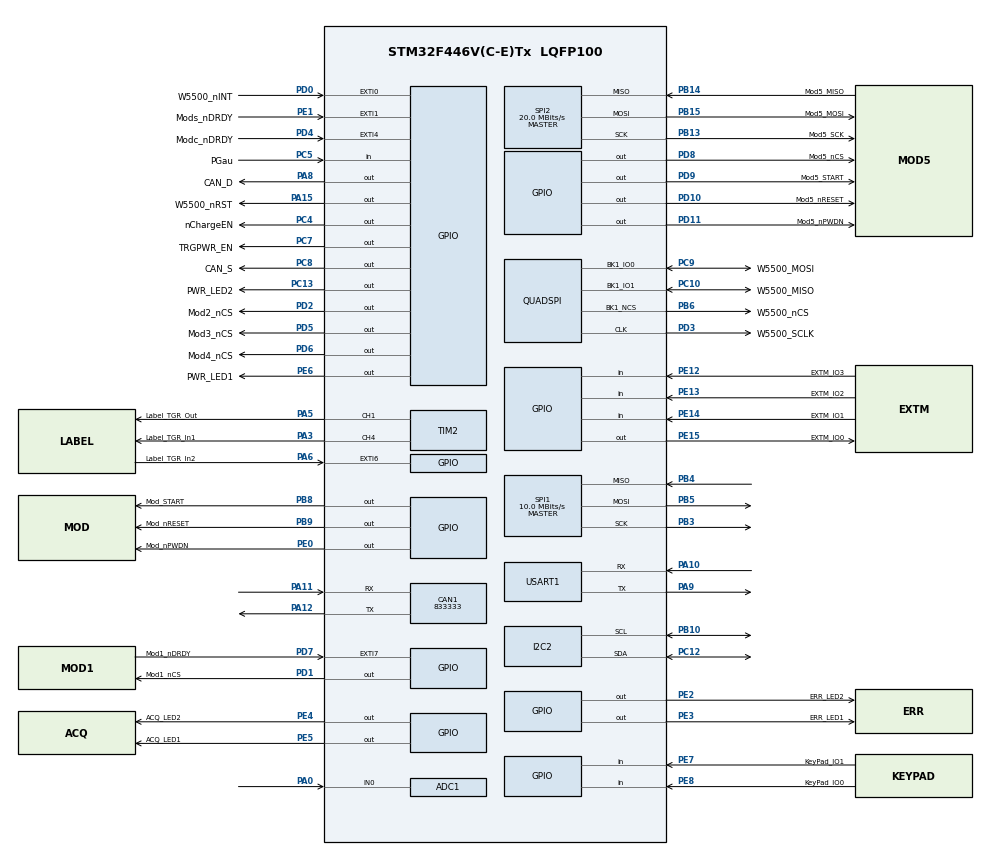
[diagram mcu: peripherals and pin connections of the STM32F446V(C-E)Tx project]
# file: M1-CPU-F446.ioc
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ADC1.Channel-0\#ChannelRegularConversion=ADC_CHANNEL_0
ADC1.NbrOfConversionFlag=1
ADC1.Rank-0\#ChannelRegularConversion=1
ADC1.SamplingTime-0\#ChannelRegularConversion=ADC_SAMPLETIME_3CYCLES
ADC1.master=1
CAN1.BS1=CAN_BS1_1TQ
CAN1.BS2=CAN_BS2_1TQ
CAN1.CalculateBaudRate=833333
CAN1.CalculateTimeBit=1200.00
CAN1.CalculateTimeQuantum=400.0
Dma.QUADSPI.2.Direction=DMA_MEMORY_TO_PERIPH
Dma.QUADSPI.2.FIFOMode=DMA_FIFOMODE_DISABLE
Dma.QUADSPI.2.Instance=DMA2_Stream7
Dma.QUADSPI.2.MemDataAlignment=DMA_MDATAALIGN_BYTE
Dma.QUADSPI.2.MemInc=DMA_MINC_ENABLE
Dma.QUADSPI.2.Mode=DMA_NORMAL
Dma.QUADSPI.2.PeriphDataAlignment=DMA_PDATAALIGN_BYTE
Dma.QUADSPI.2.PeriphInc=DMA_PINC_DISABLE
Dma.QUADSPI.2.Priority=DMA_PRIORITY_LOW
Dma.Request0=SPI1_TX
Dma.Request1=SPI1_RX
Dma.Request2=QUADSPI
Dma.SPI1_RX.1.Direction=DMA_PERIPH_TO_MEMORY
Dma.SPI1_RX.1.FIFOMode=DMA_FIFOMODE_DISABLE
Dma.SPI1_RX.1.Instance=DMA2_Stream0
Dma.SPI1_RX.1.MemDataAlignment=DMA_MDATAALIGN_BYTE
Dma.SPI1_RX.1.MemInc=DMA_MINC_ENABLE
Dma.SPI1_RX.1.Mode=DMA_NORMAL
Dma.SPI1_RX.1.PeriphDataAlignment=DMA_PDATAALIGN_BYTE
Dma.SPI1_RX.1.PeriphInc=DMA_PINC_DISABLE
Dma.SPI1_RX.1.Priority=DMA_PRIORITY_VERY_HIGH
Dma.SPI1_TX.0.Direction=DMA_MEMORY_TO_PERIPH
Dma.SPI1_TX.0.FIFOMode=DMA_FIFOMODE_DISABLE
Dma.SPI1_TX.0.Instance=DMA2_Stream3
Dma.SPI1_TX.0.MemDataAlignment=DMA_MDATAALIGN_BYTE
Dma.SPI1_TX.0.MemInc=DMA_MINC_DISABLE
Dma.SPI1_TX.0.Mode=DMA_NORMAL
Dma.SPI1_TX.0.PeriphDataAlignment=DMA_PDATAALIGN_BYTE
Dma.SPI1_TX.0.PeriphInc=DMA_PINC_DISABLE
Dma.SPI1_TX.0.Priority=DMA_PRIORITY_LOW
Mcu.Family=STM32F4
Mcu.Name=STM32F446V(C-E)Tx
Mcu.Package=LQFP100
NVIC.EXTI0_IRQn=true\:0\:0\:true\:false\:true\:true\:true
NVIC.EXTI1_IRQn=true\:1\:0\:true\:false\:true\:true\:true
NVIC.PriorityGroup=NVIC_PRIORITYGROUP_4
PA0-WKUP.Signal=ADCx_IN0
PA10.Mode=Asynchronous
PA10.Signal=USART1_RX
PA11.Mode=CAN_Activate
PA11.Signal=CAN1_RX
PA12.Mode=CAN_Activate
PA12.Signal=CAN1_TX
PA13.Mode=Serial_Wire
PA13.Signal=SYS_JTMS-SWDIO
PA14.Mode=Serial_Wire
PA14.Signal=SYS_JTCK-SWCLK
PA15.GPIO_Label=W5500_nRST
PA15.PinState=GPIO_PIN_SET
PA15.Signal=GPIO_Output
PA3.GPIO_Label=Label_TGR_In1
PA3.Signal=S_TIM2_CH4
PA5.GPIO_Label=Label_TGR_Out
PA5.Signal=S_TIM2_CH1_ETR
PA6.GPIO_Label=Label_TGR_In2
PA6.Signal=GPXTI6
PA8.GPIO_Label=CAN_D
PA8.Signal=GPIO_Output
PA9.Mode=Asynchronous
PA9.Signal=USART1_TX
PB10.Mode=I2C
PB10.Signal=I2C2_SCL
PB13.GPIO_Label=Mod5_SCK
PB13.Mode=Full_Duplex_Master
PB13.Signal=SPI2_SCK
PB14.GPIO_Label=Mod5_MISO
PB14.Mode=Full_Duplex_Master
PB14.Signal=SPI2_MISO
PB15.GPIO_Label=Mod5_MOSI
PB15.Mode=Full_Duplex_Master
PB15.Signal=SPI2_MOSI
PB3.Mode=Full_Duplex_Master
PB3.Signal=SPI1_SCK
PB4.Mode=Full_Duplex_Master
PB4.Signal=SPI1_MISO
PB5.Mode=Full_Duplex_Master
PB5.Signal=SPI1_MOSI
PB6.GPIO_Label=W5500_nCS
PB6.Mode=Single Bank 1 2IOs
PB6.Signal=QUADSPI_BK1_NCS
PB8.GPIO_Label=Mod_START
PB8.Signal=GPIO_Output
PB9.GPIO_Label=Mod_nRESET
PB9.Signal=GPIO_Output
PC10.GPIO_Label=W5500_MISO
PC10.Mode=Single Bank 1 2IOs
PC10.Signal=QUADSPI_BK1_IO1
PC12.Mode=I2C
PC12.Signal=I2C2_SDA
PC13.GPIO_Label=PWR_LED2
PC13.Signal=GPIO_Output
PC14-OSC32_IN.Mode=LSE-External-Oscillator
PC14-OSC32_IN.Signal=RCC_OSC32_IN
PC15-OSC32_OUT.Mode=LSE-External-Oscillator
PC15-OSC32_OUT.Signal=RCC_OSC32_OUT
PC4.GPIO_Label=nChargeEN
PC4.Signal=GPIO_Output
PC5.GPIO_Label=PGau
PC5.Signal=GPIO_Input
PC7.GPIO_Label=TRGPWR_EN
PC7.Signal=GPIO_Output
PC8.GPIO_Label=CAN_S
PC8.Signal=GPIO_Output
PC9.GPIO_Label=W5500_MOSI
PC9.Mode=Single Bank 1 2IOs
PC9.Signal=QUADSPI_BK1_IO0
PD0.GPIO_Label=W5500_nINT
PD0.GPIO_ModeDefaultEXTI=GPIO_MODE_IT_FALLING
PD0.Signal=GPXTI0
PD1.GPIO_Label=Mod1_nCS
PD1.GPIO_PuPd=GPIO_PULLUP
PD1.PinState=GPIO_PIN_SET
PD1.Signal=GPIO_Output
PD10.GPIO_Label=Mod5_nRESET
PD10.Signal=GPIO_Output
PD11.GPIO_Label=Mod5_nPWDN
PD11.Signal=GPIO_Output
PD2.GPIO_Label=Mod2_nCS
PD2.GPIO_ModeDefaultOutputPP=GPIO_MODE_OUTPUT_PP
PD2.GPIO_PuPd=GPIO_PULLUP
PD2.PinState=GPIO_PIN_SET
PD2.Signal=GPIO_Output
PD3.GPIO_Label=W5500_SCLK
PD3.Mode=Single Bank 1 2IOs
PD3.Signal=QUADSPI_CLK
PD4.GPIO_Label=Modc_nDRDY
PD4.Signal=GPXTI4
PD5.GPIO_Label=Mod3_nCS
PD5.GPIO_PuPd=GPIO_PULLUP
PD5.PinState=GPIO_PIN_SET
PD5.Signal=GPIO_Output
PD6.GPIO_Label=Mod4_nCS
PD6.GPIO_PuPd=GPIO_PULLUP
PD6.PinState=GPIO_PIN_SET
PD6.Signal=GPIO_Output
PD7.GPIO_Label=Mod1_nDRDY
PD7.GPIO_ModeDefaultEXTI=GPIO_MODE_IT_FALLING
PD7.GPIO_PuPd=GPIO_NOPULL
PD7.Signal=GPXTI7
PD8.GPIO_Label=Mod5_nCS
PD8.GPIO_Speed=GPIO_SPEED_FREQ_LOW
PD8.PinState=GPIO_PIN_RESET
PD8.Signal=GPIO_Output
PD9.GPIO_Label=Mod5_START
PD9.Signal=GPIO_Output
PE0.GPIO_Label=Mod_nPWDN
PE0.PinState=GPIO_PIN_RESET
PE0.Signal=GPIO_Output
PE1.GPIO_Label=Mods_nDRDY
PE1.GPIO_ModeDefaultEXTI=GPIO_MODE_IT_FALLING
PE1.Signal=GPXTI1
PE12.GPIO_Label=EXTM_IO3
PE12.Signal=GPIO_Input
PE13.GPIO_Label=EXTM_IO2
PE13.Signal=GPIO_Input
PE14.GPIO_Label=EXTM_IO1
PE14.Signal=GPIO_Input
PE15.GPIO_Label=EXTM_IO0
PE15.Signal=GPIO_Output
PE2.GPIO_Label=ERR_LED2
PE2.Signal=GPIO_Output
PE3.GPIO_Label=ERR_LED1
PE3.Signal=GPIO_Output
PE4.GPIO_Label=ACQ_LED2
PE4.Signal=GPIO_Output
PE5.GPIO_Label=ACQ_LED1
PE5.Signal=GPIO_Output
PE6.GPIO_Label=PWR_LED1
PE6.Signal=GPIO_Output
PE7.GPIO_Label=KeyPad_IO1
PE7.Signal=GPIO_Input
PE8.GPIO_Label=KeyPad_IO0
PE8.Signal=GPIO_Input
PH0-OSC_IN.Mode=HSE-External-Oscillator
PH0-OSC_IN.Signal=RCC_OSC_IN
PH1-OSC_OUT.Mode=HSE-External-Oscillator
PH1-OSC_OUT.Signal=RCC_OSC_OUT
ProjectManager.HeapSize=0x200
ProjectManager.StackSize=0x400
ProjectManager.TargetToolchain=MDK-ARM V5
QUADSPI.ChipSelectHighTime=QSPI_CS_HIGH_TIME_4_CYCLE
QUADSPI.ClockMode=QSPI_CLOCK_MODE_0
QUADSPI.ClockPrescaler=3
QUADSPI.FifoThreshold=9
QUADSPI.FlashSize=16
RCC.AHBFreq_Value=160000000
RCC.APB1CLKDivider=RCC_HCLK_DIV4
RCC.APB1Freq_Value=40000000
RCC.APB1TimFreq_Value=80000000
RCC.APB2CLKDivider=RCC_HCLK_DIV2
RCC.APB2Freq_Value=80000000
RCC.APB2TimFreq_Value=160000000
RCC.CortexFreq_Value=160000000
RCC.HCLKFreq_Value=160000000
RCC.HSE_VALUE=16000000
RCC.PLLN=320
RCC.PLLSourceVirtual=RCC_PLLSOURCE_HSE
RCC.RCC_RTC_Clock_SourceVirtual=RCC_RTCCLKSOURCE_LSE
RCC.SYSCLKFreq_VALUE=160000000
RCC.SYSCLKSource=RCC_SYSCLKSOURCE_PLLCLK
RCC.USBFreq_Value=160000000
RCC.VCOOutputFreq_Value=320000000
SH.ADCx_IN0.0=ADC1_IN0,IN0
SH.S_TIM2_CH1_ETR.0=TIM2_CH1,Output Compare1 CH1
SH.S_TIM2_CH4.0=TIM2_CH4,Output Compare4 CH4
SPI1.BaudRatePrescaler=SPI_BAUDRATEPRESCALER_8
SPI1.CLKPhase=SPI_PHASE_2EDGE
SPI1.CalculateBaudRate=10.0 MBits/s
SPI1.Direction=SPI_DIRECTION_2LINES
SPI1.Mode=SPI_MODE_MASTER
SPI1.VirtualType=VM_MASTER
SPI2.BaudRatePrescaler=SPI_BAUDRATEPRESCALER_2
SPI2.CLKPhase=SPI_PHASE_2EDGE
SPI2.CalculateBaudRate=20.0 MBits/s
SPI2.Direction=SPI_DIRECTION_2LINES
SPI2.Mode=SPI_MODE_MASTER
SPI2.VirtualType=VM_MASTER
TIM2.Channel-Output\ Compare1\ CH1=TIM_CHANNEL_1
TIM2.Channel-Output\ Compare4\ CH4=TIM_CHANNEL_4
USART1.VirtualMode=VM_ASYNC
VP_RTC_VS_RTC_Activate.Mode=RTC_Enabled
board=custom

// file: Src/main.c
/* USER CODE BEGIN Header */
/**
  ******************************************************************************
  * @file           : main.c
  * @brief          : Main program body
  ******************************************************************************
  * @attention
  *
  * <h2><center>&copy; Copyright (c) 2020 STMicroelectronics.
  * All rights reserved.</center></h2>
  *
  * This software component is licensed by ST under BSD 3-Clause license,
  * the "License"; You may not use this file except in compliance with the
  * License. You may obtain a copy of the License at:
  *                        opensource.org/licenses/BSD-3-Clause
  *
  ******************************************************************************
  */
/* USER CODE END Header */
#include "main.h"

/* USER CODE BEGIN Includes */
#include <string.h>
#include <stdio.h>
#include "shell.h"
#include "ads1299.h"
#include "w5500_service.h"
#include "AttritubeTable.h"
#include "protocol_ethernet.h"
#include "SimpleInsQueue.h"
#include "MicroEEG_Misc.h"
#include "imp_meas.h"
/* USER CODE END Includes */

/* USER CODE BEGIN PD */

// Shell
#define Shell_UART USART1

/* USER CODE END PD */

CAN_HandleTypeDef hcan1;

QSPI_HandleTypeDef hqspi;
DMA_HandleTypeDef hdma_quadspi;

/* USER CODE BEGIN PV */
uint32_t SYS_Event;							//!< 系统状态事件
static InsQUEUE InsQueue;				//!< TCP指令队列 -  存放变化的属性编号
uint32_t TriggerTimeStamp;			//!< 标签事件发生时点

SHELL_TypeDef shell;						//!< shell句柄
extern uint8_t UDP_DTx_Buff[UDPD_Tx_Buff_Size];//!< ADS1299结果缓存区（shell调试用）
uint8_t ReadResult;             //!< shell调试用

uint8_t chx_process=0;					//!< 正在阻抗检测的通道编号,本版本为多片一起检测，即编号范围0~7
uint16_t delay=0;

/* USER CODE END PV */

void SystemClock_Config(void);
static void MX_GPIO_Init(void);
static void MX_DMA_Init(void);
static void MX_ADC1_Init(void);
static void MX_CAN1_Init(void);
static void MX_I2C2_Init(void);
static void MX_QUADSPI_Init(void);
static void MX_SPI1_Init(void);
static void MX_SPI2_Init(void);
static void MX_TIM2_Init(void);
static void MX_USART1_UART_Init(void);
static void MX_RTC_Init(void);
/* USER CODE BEGIN PFP */

static void AttrChangeCB(uint8_t AttrNum); //!< 属性值变化回调函数
static void Sys_Control(); //!< 系统状态控制器

/* USER CODE END PFP */

/* USER CODE BEGIN 0 */

////////////////////////////////////////////////////////////////////////////////
/*!		@fn shell_XXX
 *		@brief	fuction for shell
 */
int fputc(int ch, FILE* stream)
{

	while(!LL_USART_IsActiveFlag_TXE(Shell_UART))
	{}
	LL_USART_TransmitData8(Shell_UART, ch);
  return ch;
}

void ShellPutchar(const char ch)
{
	while(!LL_USART_IsActiveFlag_TXE(Shell_UART))
	{}
	LL_USART_TransmitData8(Shell_UART, ch);
}

signed char ShellGetchar(char* ch)
{
	if(LL_USART_IsActiveFlag_RXNE(Shell_UART))
	{
		*ch = Shell_UART->DR;
		return 0;
	}
	else
	{
		return -1;
	}
}
////////////////////////////////////////////////////////////////////////////////
/*!		@fn ADC_XXX
 *		@brief	test functions for ADC
 */
void ADC_StartAcq(void)
{
	Mod_DRDY_INT_Enable(0);

	ADS1299_SendCommand(ADS1299_CMD_START);
	ADS1299_SendCommand(ADS1299_CMD_RDATAC);

	printf("Start Acquision!\r\n");
}
SHELL_EXPORT_CMD(ADC_StartAcq, ADC_StartAcq,ADC start to sample);

void ADC_StopAcq(void)
{
	Mod_DRDY_INT_Disable(0);

	ADS1299_SendCommand(ADS1299_CMD_STOP);
	ADS1299_SendCommand(ADS1299_CMD_SDATAC);
	printf("Stop Acquision!\r\n");
}
SHELL_EXPORT_CMD(ADC_StopAcq, ADC_StopAcq,ADC stop to sample);

void ADC_SendCommand(unsigned char cmd)
{
	ADS1299_SendCommand(cmd);

	printf("Command %x SEND!\r\n",cmd);
}
SHELL_EXPORT_CMD(ADC_SendCommand, ADC_SendCommand, Send IMD Instruction);

void ADC_WriteReg(unsigned char chip,unsigned char offset,unsigned char data)
{
	int chip1val;

	if(chip!=1){
		// read chip1's reg value first and backup
		chip1val = ADS1299_ReadREG(1,offset);
		// change the specific chip's reg value
		ADS1299_WriteREG(chip,offset,data);
		// recovery the chip1 value
		ADS1299_WriteREG(1,offset,chip1val);
	}
	else
	ADS1299_WriteREG(chip,offset,data);
}
SHELL_EXPORT_CMD(ADC_WriteReg, ADC_WriteReg, Write ADS1299 Register);

void ADC_ChannelConfig(unsigned char chip,unsigned char channel,unsigned char sw)
{
	int chip1val;

	if(chip!=1){
		// read chip1's reg value first and backup
		chip1val = ADS1299_ReadREG(1,ADS1299_REG_CH1SET + channel);
		// change the specific chip's reg value
		ADS1299_Channel_Control(chip,channel,sw);
		// recovery the chip1 value
		ADS1299_WriteREG(1,ADS1299_REG_CH1SET + channel,chip1val);
	}
	else
	ADS1299_Channel_Control(chip,channel,sw);
}
SHELL_EXPORT_CMD(ADC_ChannelConfig, ADC_ChannelConfig, Channel Switch:0-close 1-open);

void ADC_SetMode(unsigned char mode)
{
	ADS1299_Mode_Config(mode);
	printf("ADC Mode %d is set!\r\n",mode);
}
SHELL_EXPORT_CMD(ADC_SetMode, ADC_SetMode, Set ADC mode:1-EEG_Acq 2-IMP_Meas 3-TEST);

void ladreg(unsigned char chip)
{
	uint8_t i;
	uint8_t ReadResult;

	printf("1299's Registers Values:\r\n");

	ReadResult = ADS1299_ReadREG(chip,ADS1299_REG_DEVID);
	printf("DEVID=%#x\r\n",ReadResult);
	ReadResult = ADS1299_ReadREG(chip,ADS1299_REG_CONFIG1);
	printf("CONF1=%#x\r\n",ReadResult);
	ReadResult = ADS1299_ReadREG(chip,ADS1299_REG_CONFIG2);
	printf("CONF2=%#x\r\n",ReadResult);
	ReadResult = ADS1299_ReadREG(chip,ADS1299_REG_CONFIG3);
	printf("CONF3=%#x\r\n",ReadResult);
	ReadResult = ADS1299_ReadREG(chip,ADS1299_REG_LOFF);
	printf("LOFF=%#x\r\n",ReadResult);

	for(i=0;i<8;i++)
	{
		ReadResult = ADS1299_ReadREG(chip,ADS1299_REG_CH1SET+i);
		printf("CH%d=%#x\r\n",i,ReadResult);
	}
	ReadResult = ADS1299_ReadREG(chip,ADS1299_REG_BIASSENSP);
	printf("BIASSENSP=%#x\r\n",ReadResult);
	ReadResult = ADS1299_ReadREG(chip,ADS1299_REG_BIASSENSN);
	printf("BIASSENSN=%#x\r\n",ReadResult);

	ReadResult = ADS1299_ReadREG(chip,ADS1299_REG_LOFFSENSP);
	printf("LOFFSENSP=%#x\r\n",ReadResult);
	ReadResult = ADS1299_ReadREG(chip,ADS1299_REG_LOFFSENSN);
	printf("LOFFSENSN=%#x\r\n",ReadResult);

	ReadResult = ADS1299_ReadREG(chip,ADS1299_REG_LOFFFLIP);
	printf("LOFFFLIP=%#x\r\n",ReadResult);

	ReadResult = ADS1299_ReadREG(chip,ADS1299_REG_MISC1);
	printf("MISC1=%#x\r\n",ReadResult);

	ReadResult = ADS1299_ReadREG(chip,ADS1299_REG_CONFIG4);
	printf("CONF4=%#x\r\n",ReadResult);
}
SHELL_EXPORT_CMD(ladreg, ladreg, Read&List ADC Registers);

void checkbuffer(unsigned char offset)
{
	int i,j;
	int chipNum = CHANNEL_NUM/8;
	for(i=0 ; i<chipNum; i++){
		for(j=0; j<27; j++){
			printf("%x ",UDP_DTx_Buff[HEAD_SIZE+7+j]);
		}
		printf("\r\n");
	}
	printf("\r\n");
}
SHELL_EXPORT_CMD(checkbuffer, checkbuffer, Print buffer of ADC Sample Value);
////////////////////////////////////////////////////////////////////////////////

/*!		@fn AttrChangeCB
 *
 *		@param	AttrNum 变化的属性编号
 *
 *		@brief	属性值变化回调
 */
static void AttrChangeCB(uint8_t AttrNum)
{
	EnQueue(&InsQueue,AttrNum);			//!< 变化的属性编号入队等待系统状态控制器处理

	SYS_Event |= ATTR_CHANGE_EVT;   //!< 更新事件：属性值变化
}

/*!		@fn Sys_Control
 *		@brief	系统状态控制器 - 事件驱动
 */
static void Sys_Control()
{
	uint8_t AttrChangeNum;
	uint8_t TCPstate,UDPstate;

	// TCP控制通道事件
	TCPstate = TCPServer_Service(0,SYS_Event);

	if ( TCPstate == TCP_RECV )
	{
		SYS_Event |= TCP_RECV_EVT;	//!< 更新事件：TCP端口接收一帧 -> 跳转TCP帧协议服务
	}
	else if ( TCPstate == TCP_SEND )
	{
		SYS_Event |= TCP_SEND_EVT;	//!< 更新事件：TCP端口回复完成

		SYS_Event &= ~TCP_PROCESSCLP_EVT; //!< 清除前序事件 - TCP帧协议服务
	}
	else if (TCPstate == Sn_CLOSED )//!< 保护措施: TCP端口断开，则停止采样
	{
		App_WriteAttr(SAMPLING, CHX_NONE, SAMPLLE_STOP); //!< 修改开始采样属性值
		AttrChangeProcess(SAMPLING); //!< 执行停止采样操作
	}

	if( SYS_Event & TCP_RECV_EVT )
	{
		if( TCP_ProcessFSM() == _FSM_CPL_)	//!< 更新事件：TCP帧协议服务处理完毕 -> 跳转TCP端口回复
		{
			SYS_Event |= TCP_PROCESSCLP_EVT;

			SYS_Event &= ~TCP_RECV_EVT;	//!< 清除前序事件 - TCP端口接收一帧
		}
	}

	// 属性变化事件
	if(( SYS_Event & TCP_SEND_EVT )&& ( SYS_Event & ATTR_CHANGE_EVT ))
	{
		AttrChangeNum=DeQueue(&InsQueue);	//!< 出队 - 变化的属性值
		AttrChangeProcess(AttrChangeNum); //!< 属性变化处理函数

		SYS_Event &= ~ATTR_CHANGE_EVT; //!< 清除前序事件 - 属性变化
		SYS_Event &= ~TCP_SEND_EVT; //!< 清除前序事件 - TCP回复完成
	}
	else if(SYS_Event& TCP_SEND_EVT )
		SYS_Event &= ~TCP_SEND_EVT; //!< 清除前序事件 - TCP回复完成事件

	// UDP标签通道事件
	if( SYS_Event & TRIGGER_EVT )
	{
		if( UDP_Service(2,SYS_Event) == UDP_RECV )		//!< UDP端口接收，清除接收中断标志位
		{
			SYS_Event |= UDP_RECV_EVT;	//!< 更新事件：UDP端口接收到一帧 -> 跳转UDP事件帧协议服务
			SYS_Event &= ~TRIGGER_EVT; //!< 清除前序事件 - 标签事件
		}
	}

	else if( SYS_Event & UDP_RECV_EVT )
	{
		 if( UDP_EvtProcess()==SUCCESS ) //!< UDP事件帧协议服务处理完毕 -> 跳转UDP端口发送
		 {
			 SYS_Event |= UDP_EVTPROCESSCLP_EVT;	//!< 更新事件：UDP事件帧协议处理完毕
			 SYS_Event &= ~UDP_RECV_EVT; //!< 清除前序事件 - UDP端口接收到一帧
		 }
	}

	else if( SYS_Event & UDP_EVTPROCESSCLP_EVT )
	{
			if(UDP_Service(2,SYS_Event) == UDP_SEND )
		{
			SYS_Event &= ~UDP_EVTPROCESSCLP_EVT; //!< 清除前序事件 - UDP事件帧协议处理完毕
		}
	}

	// UDP数据通道事件
	if( SYS_Event & EEG_DATA_CPL_EVT )// 一包AD数据采集完成
	{
		if( UDP_DataProcess(0xFF,SYS_Event)== UDP_HEADER_CPL )
			{
				SYS_Event |=  UDP_DTPROCESSCLP_EVT; //!< 更新事件：UDP数据帧协议服务处理完毕
				SYS_Event &= ~ EEG_DATA_CPL_EVT; //!< 清除前序事件 - 一包AD数据采集完成
			}
	}

	if( SYS_Event & UDP_DTPROCESSCLP_EVT )// 一包AD数据打包完成
	{
			if(	UDP_Service(1,SYS_Event)  == UDP_SEND )
		{
			SYS_Event &= ~ UDP_DTPROCESSCLP_EVT; //!< 清除前序事件 - UDP数据帧协议服务处理完毕

			if( SYS_Event&EEG_STOP_EVT )	//!< 如果本UDP包发送之前发生过AD采集暂停事件
				SYS_Event &= ~EEG_STOP_EVT; //!< 清除前序事件 - AD数据暂停采集
		}
	}

	// 阻抗检测事件
	if ( SYS_Event & EEG_IMP_MODE )
	{
		delay++;

		if ( delay == 10 ) //TODO
		{
				delay = 0;
				SYS_Event |= CHX_IMP_START; //!< 更新事件： 开始一通道阻抗值读取

				/* 发起一通道阻抗采集 */
				while( imp_control(chx_process) != CHX_IMP_CPL );
				chx_process++;

				if( chx_process == 8 )
				{
					chx_process=0;

					//TODO 控制通道接收缓冲区写入 AC 03 01 CHX_IMP_VAL FF CC
					TCP_Rx_Buff[0] = 0xAC;
					TCP_Rx_Buff[1] = 0x03;
					TCP_Rx_Buff[2] = 0x01;
					TCP_Rx_Buff[3] = CHX_IMP_VAL;
					TCP_Rx_Buff[4] = 0xFF;
					TCP_Rx_Buff[5] = 0xCC;

					// 控制通道主动发送至上位机
					SYS_Event |= TCP_RECV_EVT;	//!< 更新事件：模拟接收一帧
				}
		}
	}

	// 异常事件
	LED_Service(SYS_Event); //!< LED

}

/* USER CODE END 0 */

int main(void)
{

  /* MCU Configuration--------------------------------------------------------*/

  /* Reset of all peripherals, Initializes the Flash interface and the Systick. */
  HAL_Init();

  /* Configure the system clock */
  SystemClock_Config();

  /* Initialize all configured peripherals */
  MX_GPIO_Init();
  MX_DMA_Init();
  MX_ADC1_Init();
  MX_CAN1_Init();
  MX_I2C2_Init();
  MX_QUADSPI_Init();
  MX_SPI1_Init();
  MX_SPI2_Init();
  MX_TIM2_Init();
  MX_USART1_UART_Init();
  MX_RTC_Init();
  /* USER CODE BEGIN 2 */

	//备份服务初始化
	BKP_Service_Init();

	//LED 初始化
	LED_Service_Init();

	//Shell 初始化
	shell.read = ShellGetchar;
	shell.write = ShellPutchar;
	shellInit(&shell);

	//ADS1299 初始化
	ADS1299_Init();
	ADS1299_Mode_Config(ADS1299_ParaGroup_ACQ); //初始模式-采样模式

	//样本时间戳服务初始化
	SampleTimestamp_Service_Init();

	//TCP帧协议服务初始化
	TCP_ProcessFSMInit();

	//属性表服务初始化
	Attr_Tbl_Init();

	//主应用程序向属性表服务注册属性值变化回调函数
	Attr_Tbl_RegisterAppCBs(&AttrChangeCB);

	if( SYS_Event&POWERDOWN_EVT )
	{
		BKP_Service_Recovery();

		if(SYS_Event&SOCKETDOWN_EVT)
			W5500_Init();
	}
	else
	{
		//W5500初始化
		W5500_Init(); //W5500初始化，配置Socket

	}

	/* 开启独立看门狗 */
  //MX_IWDG_Init();

  /* USER CODE END 2 */

  /* Infinite loop */
  /* USER CODE BEGIN WHILE */
  while (1)
  {
		// 喂狗
		//LL_IWDG_ReloadCounter(IWDG);

		// shell 服务
    shellTask(&shell);

		// 运行系统状态控制器
		Sys_Control();

    /* USER CODE END WHILE */

  }
}

void SystemClock_Config(void)
{
  LL_FLASH_SetLatency(LL_FLASH_LATENCY_5);
  while(LL_FLASH_GetLatency()!= LL_FLASH_LATENCY_5)
  {
  }
  LL_PWR_SetRegulVoltageScaling(LL_PWR_REGU_VOLTAGE_SCALE1);
  LL_PWR_DisableOverDriveMode();
  LL_RCC_HSE_Enable();

   /* Wait till HSE is ready */
  while(LL_RCC_HSE_IsReady() != 1)
  {

  }
  LL_PWR_EnableBkUpAccess();
  LL_RCC_LSE_Enable();

   /* Wait till LSE is ready */
  while(LL_RCC_LSE_IsReady() != 1)
  {

  }
  if(LL_RCC_GetRTCClockSource() != LL_RCC_RTC_CLKSOURCE_LSE)
  {
    LL_RCC_ForceBackupDomainReset();
    LL_RCC_ReleaseBackupDomainReset();
    LL_RCC_SetRTCClockSource(LL_RCC_RTC_CLKSOURCE_LSE);
  }
  LL_RCC_EnableRTC();
  LL_RCC_PLL_ConfigDomain_SYS(LL_RCC_PLLSOURCE_HSE, LL_RCC_PLLM_DIV_16, 320, LL_RCC_PLLP_DIV_2);
  LL_RCC_PLL_Enable();

   /* Wait till PLL is ready */
  while(LL_RCC_PLL_IsReady() != 1)
  {

  }
  LL_RCC_SetAHBPrescaler(LL_RCC_SYSCLK_DIV_1);
  LL_RCC_SetAPB1Prescaler(LL_RCC_APB1_DIV_4);
  LL_RCC_SetAPB2Prescaler(LL_RCC_APB2_DIV_2);
  LL_RCC_SetSysClkSource(LL_RCC_SYS_CLKSOURCE_PLL);

   /* Wait till System clock is ready */
  while(LL_RCC_GetSysClkSource() != LL_RCC_SYS_CLKSOURCE_STATUS_PLL)
  {

  }
  LL_SetSystemCoreClock(160000000);

   /* Update the time base */
  if (HAL_InitTick (TICK_INT_PRIORITY) != HAL_OK)
  {
    Error_Handler();
  }
  LL_RCC_SetTIMPrescaler(LL_RCC_TIM_PRESCALER_TWICE);
}

static void MX_ADC1_Init(void)
{

  LL_ADC_InitTypeDef ADC_InitStruct = {0};
  LL_ADC_REG_InitTypeDef ADC_REG_InitStruct = {0};
  LL_ADC_CommonInitTypeDef ADC_CommonInitStruct = {0};

  LL_GPIO_InitTypeDef GPIO_InitStruct = {0};

  /* Peripheral clock enable */
  LL_APB2_GRP1_EnableClock(LL_APB2_GRP1_PERIPH_ADC1);

  LL_AHB1_GRP1_EnableClock(LL_AHB1_GRP1_PERIPH_GPIOA);
  /**ADC1 GPIO Configuration
  PA0-WKUP   ------> ADC1_IN0
  */
  GPIO_InitStruct.Pin = LL_GPIO_PIN_0;
  GPIO_InitStruct.Mode = LL_GPIO_MODE_ANALOG;
  GPIO_InitStruct.Pull = LL_GPIO_PULL_NO;
  LL_GPIO_Init(GPIOA, &GPIO_InitStruct);

  /** Common config
  */
  ADC_InitStruct.Resolution = LL_ADC_RESOLUTION_12B;
  ADC_InitStruct.DataAlignment = LL_ADC_DATA_ALIGN_RIGHT;
  ADC_InitStruct.SequencersScanMode = LL_ADC_SEQ_SCAN_DISABLE;
  LL_ADC_Init(ADC1, &ADC_InitStruct);
  ADC_REG_InitStruct.TriggerSource = LL_ADC_REG_TRIG_SOFTWARE;
  ADC_REG_InitStruct.SequencerLength = LL_ADC_REG_SEQ_SCAN_DISABLE;
  ADC_REG_InitStruct.SequencerDiscont = LL_ADC_REG_SEQ_DISCONT_DISABLE;
  ADC_REG_InitStruct.ContinuousMode = LL_ADC_REG_CONV_SINGLE;
  ADC_REG_InitStruct.DMATransfer = LL_ADC_REG_DMA_TRANSFER_NONE;
  LL_ADC_REG_Init(ADC1, &ADC_REG_InitStruct);
  LL_ADC_REG_SetFlagEndOfConversion(ADC1, LL_ADC_REG_FLAG_EOC_UNITARY_CONV);
  ADC_CommonInitStruct.CommonClock = LL_ADC_CLOCK_SYNC_PCLK_DIV4;
  ADC_CommonInitStruct.Multimode = LL_ADC_MULTI_INDEPENDENT;
  LL_ADC_CommonInit(__LL_ADC_COMMON_INSTANCE(ADC1), &ADC_CommonInitStruct);
  /** Configure Regular Channel
  */
  LL_ADC_REG_SetSequencerRanks(ADC1, LL_ADC_REG_RANK_1, LL_ADC_CHANNEL_0);
  LL_ADC_SetChannelSamplingTime(ADC1, LL_ADC_CHANNEL_0, LL_ADC_SAMPLINGTIME_3CYCLES);

}

static void MX_CAN1_Init(void)
{

  hcan1.Instance = CAN1;
  hcan1.Init.Prescaler = 16;
  hcan1.Init.Mode = CAN_MODE_NORMAL;
  hcan1.Init.SyncJumpWidth = CAN_SJW_1TQ;
  hcan1.Init.TimeSeg1 = CAN_BS1_1TQ;
  hcan1.Init.TimeSeg2 = CAN_BS2_1TQ;
  hcan1.Init.TimeTriggeredMode = DISABLE;
  hcan1.Init.AutoBusOff = DISABLE;
  hcan1.Init.AutoWakeUp = DISABLE;
  hcan1.Init.AutoRetransmission = DISABLE;
  hcan1.Init.ReceiveFifoLocked = DISABLE;
  hcan1.Init.TransmitFifoPriority = DISABLE;
  if (HAL_CAN_Init(&hcan1) != HAL_OK)
  {
    Error_Handler();
  }

}

static void MX_I2C2_Init(void)
{

  LL_I2C_InitTypeDef I2C_InitStruct = {0};

  LL_GPIO_InitTypeDef GPIO_InitStruct = {0};

  LL_AHB1_GRP1_EnableClock(LL_AHB1_GRP1_PERIPH_GPIOB);
  LL_AHB1_GRP1_EnableClock(LL_AHB1_GRP1_PERIPH_GPIOC);
  /**I2C2 GPIO Configuration
  PB10   ------> I2C2_SCL
  PC12   ------> I2C2_SDA
  */
  GPIO_InitStruct.Pin = LL_GPIO_PIN_10;
  GPIO_InitStruct.Mode = LL_GPIO_MODE_ALTERNATE;
  GPIO_InitStruct.Speed = LL_GPIO_SPEED_FREQ_VERY_HIGH;
  GPIO_InitStruct.OutputType = LL_GPIO_OUTPUT_OPENDRAIN;
  GPIO_InitStruct.Pull = LL_GPIO_PULL_UP;
  GPIO_InitStruct.Alternate = LL_GPIO_AF_4;
  LL_GPIO_Init(GPIOB, &GPIO_InitStruct);

  GPIO_InitStruct.Pin = LL_GPIO_PIN_12;
  GPIO_InitStruct.Mode = LL_GPIO_MODE_ALTERNATE;
  GPIO_InitStruct.Speed = LL_GPIO_SPEED_FREQ_VERY_HIGH;
  GPIO_InitStruct.OutputType = LL_GPIO_OUTPUT_OPENDRAIN;
  GPIO_InitStruct.Pull = LL_GPIO_PULL_UP;
  GPIO_InitStruct.Alternate = LL_GPIO_AF_4;
  LL_GPIO_Init(GPIOC, &GPIO_InitStruct);

  /* Peripheral clock enable */
  LL_APB1_GRP1_EnableClock(LL_APB1_GRP1_PERIPH_I2C2);

  /** I2C Initialization
  */
  LL_I2C_DisableOwnAddress2(I2C2);
  LL_I2C_DisableGeneralCall(I2C2);
  LL_I2C_EnableClockStretching(I2C2);
  I2C_InitStruct.PeripheralMode = LL_I2C_MODE_I2C;
  I2C_InitStruct.ClockSpeed = 100000;
  I2C_InitStruct.DutyCycle = LL_I2C_DUTYCYCLE_2;
  I2C_InitStruct.OwnAddress1 = 0;
  I2C_InitStruct.TypeAcknowledge = LL_I2C_ACK;
  I2C_InitStruct.OwnAddrSize = LL_I2C_OWNADDRESS1_7BIT;
  LL_I2C_Init(I2C2, &I2C_InitStruct);
  LL_I2C_SetOwnAddress2(I2C2, 0);

}

static void MX_QUADSPI_Init(void)
{

  /* QUADSPI parameter configuration*/
  hqspi.Instance = QUADSPI;
  hqspi.Init.ClockPrescaler = 3;
  hqspi.Init.FifoThreshold = 9;
  hqspi.Init.SampleShifting = QSPI_SAMPLE_SHIFTING_NONE;
  hqspi.Init.FlashSize = 16;
  hqspi.Init.ChipSelectHighTime = QSPI_CS_HIGH_TIME_4_CYCLE;
  hqspi.Init.ClockMode = QSPI_CLOCK_MODE_0;
  hqspi.Init.FlashID = QSPI_FLASH_ID_1;
  hqspi.Init.DualFlash = QSPI_DUALFLASH_DISABLE;
  if (HAL_QSPI_Init(&hqspi) != HAL_OK)
  {
    Error_Handler();
  }

}

static void MX_RTC_Init(void)
{

  LL_RTC_InitTypeDef RTC_InitStruct = {0};

  /* Peripheral clock enable */
  LL_RCC_EnableRTC();

  /** Initialize RTC and set the Time and Date
  */
  RTC_InitStruct.HourFormat = LL_RTC_HOURFORMAT_24HOUR;
  RTC_InitStruct.AsynchPrescaler = 127;
  RTC_InitStruct.SynchPrescaler = 255;
  LL_RTC_Init(RTC, &RTC_InitStruct);
  LL_RTC_SetAsynchPrescaler(RTC, 127);
  LL_RTC_SetSynchPrescaler(RTC, 255);
  /* USER CODE BEGIN RTC_Init 2 */
	// !!!!! CubeMX LL生成RTC初始化时间没有RTC_DateStruct.Day
  /* USER CODE END RTC_Init 2 */

}

static void MX_SPI1_Init(void)
{

  LL_SPI_InitTypeDef SPI_InitStruct = {0};

  LL_GPIO_InitTypeDef GPIO_InitStruct = {0};

  /* Peripheral clock enable */
  LL_APB2_GRP1_EnableClock(LL_APB2_GRP1_PERIPH_SPI1);

  LL_AHB1_GRP1_EnableClock(LL_AHB1_GRP1_PERIPH_GPIOB);
  /**SPI1 GPIO Configuration
  PB3   ------> SPI1_SCK
  PB4   ------> SPI1_MISO
  PB5   ------> SPI1_MOSI
  */
  GPIO_InitStruct.Pin = LL_GPIO_PIN_3|LL_GPIO_PIN_4|LL_GPIO_PIN_5;
  GPIO_InitStruct.Mode = LL_GPIO_MODE_ALTERNATE;
  GPIO_InitStruct.Speed = LL_GPIO_SPEED_FREQ_VERY_HIGH;
  GPIO_InitStruct.OutputType = LL_GPIO_OUTPUT_PUSHPULL;
  GPIO_InitStruct.Pull = LL_GPIO_PULL_NO;
  GPIO_InitStruct.Alternate = LL_GPIO_AF_5;
  LL_GPIO_Init(GPIOB, &GPIO_InitStruct);

  /* SPI1 DMA Init */

  /* SPI1_TX Init */
  LL_DMA_SetChannelSelection(DMA2, LL_DMA_STREAM_3, LL_DMA_CHANNEL_3);

  LL_DMA_SetDataTransferDirection(DMA2, LL_DMA_STREAM_3, LL_DMA_DIRECTION_MEMORY_TO_PERIPH);

  LL_DMA_SetStreamPriorityLevel(DMA2, LL_DMA_STREAM_3, LL_DMA_PRIORITY_LOW);

  LL_DMA_SetMode(DMA2, LL_DMA_STREAM_3, LL_DMA_MODE_NORMAL);

  LL_DMA_SetPeriphIncMode(DMA2, LL_DMA_STREAM_3, LL_DMA_PERIPH_NOINCREMENT);

  LL_DMA_SetMemoryIncMode(DMA2, LL_DMA_STREAM_3, LL_DMA_MEMORY_NOINCREMENT);

  LL_DMA_SetPeriphSize(DMA2, LL_DMA_STREAM_3, LL_DMA_PDATAALIGN_BYTE);

  LL_DMA_SetMemorySize(DMA2, LL_DMA_STREAM_3, LL_DMA_MDATAALIGN_BYTE);

  LL_DMA_DisableFifoMode(DMA2, LL_DMA_STREAM_3);

  /* SPI1_RX Init */
  LL_DMA_SetChannelSelection(DMA2, LL_DMA_STREAM_0, LL_DMA_CHANNEL_3);

  LL_DMA_SetDataTransferDirection(DMA2, LL_DMA_STREAM_0, LL_DMA_DIRECTION_PERIPH_TO_MEMORY);

  LL_DMA_SetStreamPriorityLevel(DMA2, LL_DMA_STREAM_0, LL_DMA_PRIORITY_VERYHIGH);

  LL_DMA_SetMode(DMA2, LL_DMA_STREAM_0, LL_DMA_MODE_NORMAL);

  LL_DMA_SetPeriphIncMode(DMA2, LL_DMA_STREAM_0, LL_DMA_PERIPH_NOINCREMENT);

  LL_DMA_SetMemoryIncMode(DMA2, LL_DMA_STREAM_0, LL_DMA_MEMORY_INCREMENT);

  LL_DMA_SetPeriphSize(DMA2, LL_DMA_STREAM_0, LL_DMA_PDATAALIGN_BYTE);

  LL_DMA_SetMemorySize(DMA2, LL_DMA_STREAM_0, LL_DMA_MDATAALIGN_BYTE);

  LL_DMA_DisableFifoMode(DMA2, LL_DMA_STREAM_0);

  /* SPI1 parameter configuration*/
  SPI_InitStruct.TransferDirection = LL_SPI_FULL_DUPLEX;
  SPI_InitStruct.Mode = LL_SPI_MODE_MASTER;
  SPI_InitStruct.DataWidth = LL_SPI_DATAWIDTH_8BIT;
  SPI_InitStruct.ClockPolarity = LL_SPI_POLARITY_LOW;
  SPI_InitStruct.ClockPhase = LL_SPI_PHASE_2EDGE;
  SPI_InitStruct.NSS = LL_SPI_NSS_SOFT;
  SPI_InitStruct.BaudRate = LL_SPI_BAUDRATEPRESCALER_DIV8;
  SPI_InitStruct.BitOrder = LL_SPI_MSB_FIRST;
  SPI_InitStruct.CRCCalculation = LL_SPI_CRCCALCULATION_DISABLE;
  SPI_InitStruct.CRCPoly = 10;
  LL_SPI_Init(SPI1, &SPI_InitStruct);
  LL_SPI_SetStandard(SPI1, LL_SPI_PROTOCOL_MOTOROLA);

}

static void MX_SPI2_Init(void)
{

  LL_SPI_InitTypeDef SPI_InitStruct = {0};

  LL_GPIO_InitTypeDef GPIO_InitStruct = {0};

  /* Peripheral clock enable */
  LL_APB1_GRP1_EnableClock(LL_APB1_GRP1_PERIPH_SPI2);

  LL_AHB1_GRP1_EnableClock(LL_AHB1_GRP1_PERIPH_GPIOB);
  /**SPI2 GPIO Configuration
  PB13   ------> SPI2_SCK
  PB14   ------> SPI2_MISO
  PB15   ------> SPI2_MOSI
  */
  GPIO_InitStruct.Pin = Mod5_SCK_Pin|Mod5_MISO_Pin|Mod5_MOSI_Pin;
  GPIO_InitStruct.Mode = LL_GPIO_MODE_ALTERNATE;
  GPIO_InitStruct.Speed = LL_GPIO_SPEED_FREQ_VERY_HIGH;
  GPIO_InitStruct.OutputType = LL_GPIO_OUTPUT_PUSHPULL;
  GPIO_InitStruct.Pull = LL_GPIO_PULL_NO;
  GPIO_InitStruct.Alternate = LL_GPIO_AF_5;
  LL_GPIO_Init(GPIOB, &GPIO_InitStruct);

  /* SPI2 parameter configuration*/
  SPI_InitStruct.TransferDirection = LL_SPI_FULL_DUPLEX;
  SPI_InitStruct.Mode = LL_SPI_MODE_MASTER;
  SPI_InitStruct.DataWidth = LL_SPI_DATAWIDTH_8BIT;
  SPI_InitStruct.ClockPolarity = LL_SPI_POLARITY_LOW;
  SPI_InitStruct.ClockPhase = LL_SPI_PHASE_2EDGE;
  SPI_InitStruct.NSS = LL_SPI_NSS_SOFT;
  SPI_InitStruct.BaudRate = LL_SPI_BAUDRATEPRESCALER_DIV2;
  SPI_InitStruct.BitOrder = LL_SPI_MSB_FIRST;
  SPI_InitStruct.CRCCalculation = LL_SPI_CRCCALCULATION_DISABLE;
  SPI_InitStruct.CRCPoly = 10;
  LL_SPI_Init(SPI2, &SPI_InitStruct);
  LL_SPI_SetStandard(SPI2, LL_SPI_PROTOCOL_MOTOROLA);

}

static void MX_TIM2_Init(void)
{

  LL_TIM_InitTypeDef TIM_InitStruct = {0};
  LL_TIM_OC_InitTypeDef TIM_OC_InitStruct = {0};

  LL_GPIO_InitTypeDef GPIO_InitStruct = {0};

  /* Peripheral clock enable */
  LL_APB1_GRP1_EnableClock(LL_APB1_GRP1_PERIPH_TIM2);

  TIM_InitStruct.Prescaler = 0;
  TIM_InitStruct.CounterMode = LL_TIM_COUNTERMODE_UP;
  TIM_InitStruct.Autoreload = 4294967295;
  TIM_InitStruct.ClockDivision = LL_TIM_CLOCKDIVISION_DIV1;
  LL_TIM_Init(TIM2, &TIM_InitStruct);
  LL_TIM_DisableARRPreload(TIM2);
  TIM_OC_InitStruct.OCMode = LL_TIM_OCMODE_FROZEN;
  TIM_OC_InitStruct.OCState = LL_TIM_OCSTATE_DISABLE;
  TIM_OC_InitStruct.OCNState = LL_TIM_OCSTATE_DISABLE;
  TIM_OC_InitStruct.CompareValue = 0;
  TIM_OC_InitStruct.OCPolarity = LL_TIM_OCPOLARITY_HIGH;
  LL_TIM_OC_Init(TIM2, LL_TIM_CHANNEL_CH1, &TIM_OC_InitStruct);
  LL_TIM_OC_DisableFast(TIM2, LL_TIM_CHANNEL_CH1);
  TIM_OC_InitStruct.OCState = LL_TIM_OCSTATE_DISABLE;
  TIM_OC_InitStruct.OCNState = LL_TIM_OCSTATE_DISABLE;
  LL_TIM_OC_Init(TIM2, LL_TIM_CHANNEL_CH4, &TIM_OC_InitStruct);
  LL_TIM_OC_DisableFast(TIM2, LL_TIM_CHANNEL_CH4);
  LL_TIM_SetTriggerOutput(TIM2, LL_TIM_TRGO_RESET);
  LL_TIM_DisableMasterSlaveMode(TIM2);
  LL_AHB1_GRP1_EnableClock(LL_AHB1_GRP1_PERIPH_GPIOA);
  /**TIM2 GPIO Configuration
  PA3   ------> TIM2_CH4
  PA5   ------> TIM2_CH1
  */
  GPIO_InitStruct.Pin = Label_TGR_In1_Pin|Label_TGR_Out_Pin;
  GPIO_InitStruct.Mode = LL_GPIO_MODE_ALTERNATE;
  GPIO_InitStruct.Speed = LL_GPIO_SPEED_FREQ_LOW;
  GPIO_InitStruct.OutputType = LL_GPIO_OUTPUT_PUSHPULL;
  GPIO_InitStruct.Pull = LL_GPIO_PULL_NO;
  GPIO_InitStruct.Alternate = LL_GPIO_AF_1;
  LL_GPIO_Init(GPIOA, &GPIO_InitStruct);

}

static void MX_USART1_UART_Init(void)
{

  LL_USART_InitTypeDef USART_InitStruct = {0};

  LL_GPIO_InitTypeDef GPIO_InitStruct = {0};

  /* Peripheral clock enable */
  LL_APB2_GRP1_EnableClock(LL_APB2_GRP1_PERIPH_USART1);

  LL_AHB1_GRP1_EnableClock(LL_AHB1_GRP1_PERIPH_GPIOA);
  /**USART1 GPIO Configuration
  PA9   ------> USART1_TX
  PA10   ------> USART1_RX
  */
  GPIO_InitStruct.Pin = LL_GPIO_PIN_9|LL_GPIO_PIN_10;
  GPIO_InitStruct.Mode = LL_GPIO_MODE_ALTERNATE;
  GPIO_InitStruct.Speed = LL_GPIO_SPEED_FREQ_VERY_HIGH;
  GPIO_InitStruct.OutputType = LL_GPIO_OUTPUT_PUSHPULL;
  GPIO_InitStruct.Pull = LL_GPIO_PULL_NO;
  GPIO_InitStruct.Alternate = LL_GPIO_AF_7;
  LL_GPIO_Init(GPIOA, &GPIO_InitStruct);

  USART_InitStruct.BaudRate = 115200;
  USART_InitStruct.DataWidth = LL_USART_DATAWIDTH_8B;
  USART_InitStruct.StopBits = LL_USART_STOPBITS_1;
  USART_InitStruct.Parity = LL_USART_PARITY_NONE;
  USART_InitStruct.TransferDirection = LL_USART_DIRECTION_TX_RX;
  USART_InitStruct.HardwareFlowControl = LL_USART_HWCONTROL_NONE;
  USART_InitStruct.OverSampling = LL_USART_OVERSAMPLING_16;
  LL_USART_Init(USART1, &USART_InitStruct);
  LL_USART_ConfigAsyncMode(USART1);
  LL_USART_Enable(USART1);

}

static void MX_DMA_Init(void)
{

  /* Init with LL driver */
  /* DMA controller clock enable */
  LL_AHB1_GRP1_EnableClock(LL_AHB1_GRP1_PERIPH_DMA2);

}

static void MX_GPIO_Init(void)
{
  LL_EXTI_InitTypeDef EXTI_InitStruct = {0};
  LL_GPIO_InitTypeDef GPIO_InitStruct = {0};

  /* GPIO Ports Clock Enable */
  LL_AHB1_GRP1_EnableClock(LL_AHB1_GRP1_PERIPH_GPIOE);
  LL_AHB1_GRP1_EnableClock(LL_AHB1_GRP1_PERIPH_GPIOC);
  LL_AHB1_GRP1_EnableClock(LL_AHB1_GRP1_PERIPH_GPIOH);
  LL_AHB1_GRP1_EnableClock(LL_AHB1_GRP1_PERIPH_GPIOA);
  LL_AHB1_GRP1_EnableClock(LL_AHB1_GRP1_PERIPH_GPIOB);
  LL_AHB1_GRP1_EnableClock(LL_AHB1_GRP1_PERIPH_GPIOD);

  /**/
  LL_GPIO_ResetOutputPin(GPIOE, ERR_LED2_Pin|ERR_LED1_Pin|ACQ_LED2_Pin|ACQ_LED1_Pin
                          |PWR_LED1_Pin|EXTM_IO0_Pin|Mod_nPWDN_Pin);

  /**/
  LL_GPIO_ResetOutputPin(GPIOC, PWR_LED2_Pin|nChargeEN_Pin|TRGPWR_EN_Pin|CAN_S_Pin);

  /**/
  LL_GPIO_ResetOutputPin(GPIOD, Mod5_nCS_Pin|Mod5_START_Pin|Mod5_nRESET_Pin|Mod5_nPWDN_Pin);

  /**/
  LL_GPIO_ResetOutputPin(CAN_D_GPIO_Port, CAN_D_Pin);

  /**/
  LL_GPIO_ResetOutputPin(GPIOB, Mod_START_Pin|Mod_nRESET_Pin);

  /**/
  LL_GPIO_SetOutputPin(W5500_nRST_GPIO_Port, W5500_nRST_Pin);

  /**/
  LL_GPIO_SetOutputPin(GPIOD, Mod1_nCS_Pin|Mod2_nCS_Pin|Mod3_nCS_Pin|Mod4_nCS_Pin);

  /**/
  GPIO_InitStruct.Pin = ERR_LED2_Pin|ERR_LED1_Pin|ACQ_LED2_Pin|ACQ_LED1_Pin
                          |PWR_LED1_Pin|EXTM_IO0_Pin|Mod_nPWDN_Pin;
  GPIO_InitStruct.Mode = LL_GPIO_MODE_OUTPUT;
  GPIO_InitStruct.Speed = LL_GPIO_SPEED_FREQ_LOW;
  GPIO_InitStruct.OutputType = LL_GPIO_OUTPUT_PUSHPULL;
  GPIO_InitStruct.Pull = LL_GPIO_PULL_NO;
  LL_GPIO_Init(GPIOE, &GPIO_InitStruct);

  /**/
  GPIO_InitStruct.Pin = PWR_LED2_Pin|nChargeEN_Pin|TRGPWR_EN_Pin|CAN_S_Pin;
  GPIO_InitStruct.Mode = LL_GPIO_MODE_OUTPUT;
  GPIO_InitStruct.Speed = LL_GPIO_SPEED_FREQ_LOW;
  GPIO_InitStruct.OutputType = LL_GPIO_OUTPUT_PUSHPULL;
  GPIO_InitStruct.Pull = LL_GPIO_PULL_NO;
  LL_GPIO_Init(GPIOC, &GPIO_InitStruct);

  /**/
  GPIO_InitStruct.Pin = PGau_Pin;
  GPIO_InitStruct.Mode = LL_GPIO_MODE_INPUT;
  GPIO_InitStruct.Pull = LL_GPIO_PULL_NO;
  LL_GPIO_Init(PGau_GPIO_Port, &GPIO_InitStruct);

  /**/
  GPIO_InitStruct.Pin = KeyPad_IO1_Pin|KeyPad_IO0_Pin|EXTM_IO3_Pin|EXTM_IO2_Pin
                          |EXTM_IO1_Pin;
  GPIO_InitStruct.Mode = LL_GPIO_MODE_INPUT;
  GPIO_InitStruct.Pull = LL_GPIO_PULL_NO;
  LL_GPIO_Init(GPIOE, &GPIO_InitStruct);

  /**/
  GPIO_InitStruct.Pin = Mod5_nCS_Pin|Mod5_START_Pin|Mod5_nRESET_Pin|Mod5_nPWDN_Pin;
  GPIO_InitStruct.Mode = LL_GPIO_MODE_OUTPUT;
  GPIO_InitStruct.Speed = LL_GPIO_SPEED_FREQ_LOW;
  GPIO_InitStruct.OutputType = LL_GPIO_OUTPUT_PUSHPULL;
  GPIO_InitStruct.Pull = LL_GPIO_PULL_NO;
  LL_GPIO_Init(GPIOD, &GPIO_InitStruct);

  /**/
  GPIO_InitStruct.Pin = CAN_D_Pin|W5500_nRST_Pin;
  GPIO_InitStruct.Mode = LL_GPIO_MODE_OUTPUT;
  GPIO_InitStruct.Speed = LL_GPIO_SPEED_FREQ_LOW;
  GPIO_InitStruct.OutputType = LL_GPIO_OUTPUT_PUSHPULL;
  GPIO_InitStruct.Pull = LL_GPIO_PULL_NO;
  LL_GPIO_Init(GPIOA, &GPIO_InitStruct);

  /**/
  GPIO_InitStruct.Pin = Mod1_nCS_Pin|Mod2_nCS_Pin|Mod3_nCS_Pin|Mod4_nCS_Pin;
  GPIO_InitStruct.Mode = LL_GPIO_MODE_OUTPUT;
  GPIO_InitStruct.Speed = LL_GPIO_SPEED_FREQ_LOW;
  GPIO_InitStruct.OutputType = LL_GPIO_OUTPUT_PUSHPULL;
  GPIO_InitStruct.Pull = LL_GPIO_PULL_UP;
  LL_GPIO_Init(GPIOD, &GPIO_InitStruct);

  /**/
  GPIO_InitStruct.Pin = Mod_START_Pin|Mod_nRESET_Pin;
  GPIO_InitStruct.Mode = LL_GPIO_MODE_OUTPUT;
  GPIO_InitStruct.Speed = LL_GPIO_SPEED_FREQ_LOW;
  GPIO_InitStruct.OutputType = LL_GPIO_OUTPUT_PUSHPULL;
  GPIO_InitStruct.Pull = LL_GPIO_PULL_NO;
  LL_GPIO_Init(GPIOB, &GPIO_InitStruct);

  /**/
  LL_SYSCFG_SetEXTISource(LL_SYSCFG_EXTI_PORTA, LL_SYSCFG_EXTI_LINE6);

  /**/
  LL_SYSCFG_SetEXTISource(LL_SYSCFG_EXTI_PORTD, LL_SYSCFG_EXTI_LINE0);

  /**/
  LL_SYSCFG_SetEXTISource(LL_SYSCFG_EXTI_PORTD, LL_SYSCFG_EXTI_LINE4);

  /**/
  LL_SYSCFG_SetEXTISource(LL_SYSCFG_EXTI_PORTD, LL_SYSCFG_EXTI_LINE7);

  /**/
  LL_SYSCFG_SetEXTISource(LL_SYSCFG_EXTI_PORTE, LL_SYSCFG_EXTI_LINE1);

  /**/
  EXTI_InitStruct.Line_0_31 = LL_EXTI_LINE_6;
  EXTI_InitStruct.LineCommand = ENABLE;
  EXTI_InitStruct.Mode = LL_EXTI_MODE_IT;
  EXTI_InitStruct.Trigger = LL_EXTI_TRIGGER_RISING;
  LL_EXTI_Init(&EXTI_InitStruct);

  /**/
  EXTI_InitStruct.Line_0_31 = LL_EXTI_LINE_0;
  EXTI_InitStruct.LineCommand = ENABLE;
  EXTI_InitStruct.Mode = LL_EXTI_MODE_IT;
  EXTI_InitStruct.Trigger = LL_EXTI_TRIGGER_FALLING;
  LL_EXTI_Init(&EXTI_InitStruct);

  /**/
  EXTI_InitStruct.Line_0_31 = LL_EXTI_LINE_4;
  EXTI_InitStruct.LineCommand = ENABLE;
  EXTI_InitStruct.Mode = LL_EXTI_MODE_IT;
  EXTI_InitStruct.Trigger = LL_EXTI_TRIGGER_RISING;
  LL_EXTI_Init(&EXTI_InitStruct);

  /**/
  EXTI_InitStruct.Line_0_31 = LL_EXTI_LINE_7;
  EXTI_InitStruct.LineCommand = ENABLE;
  EXTI_InitStruct.Mode = LL_EXTI_MODE_IT;
  EXTI_InitStruct.Trigger = LL_EXTI_TRIGGER_FALLING;
  LL_EXTI_Init(&EXTI_InitStruct);

  /**/
  EXTI_InitStruct.Line_0_31 = LL_EXTI_LINE_1;
  EXTI_InitStruct.LineCommand = ENABLE;
  EXTI_InitStruct.Mode = LL_EXTI_MODE_IT;
  EXTI_InitStruct.Trigger = LL_EXTI_TRIGGER_FALLING;
  LL_EXTI_Init(&EXTI_InitStruct);

  /**/
  LL_GPIO_SetPinPull(Label_TGR_In2_GPIO_Port, Label_TGR_In2_Pin, LL_GPIO_PULL_NO);

  /**/
  LL_GPIO_SetPinPull(W5500_nINT_GPIO_Port, W5500_nINT_Pin, LL_GPIO_PULL_NO);

  /**/
  LL_GPIO_SetPinPull(Modc_nDRDY_GPIO_Port, Modc_nDRDY_Pin, LL_GPIO_PULL_NO);

  /**/
  LL_GPIO_SetPinPull(Mod1_nDRDY_GPIO_Port, Mod1_nDRDY_Pin, LL_GPIO_PULL_NO);

  /**/
  LL_GPIO_SetPinPull(Mods_nDRDY_GPIO_Port, Mods_nDRDY_Pin, LL_GPIO_PULL_NO);

  /**/
  LL_GPIO_SetPinMode(Label_TGR_In2_GPIO_Port, Label_TGR_In2_Pin, LL_GPIO_MODE_INPUT);

  /**/
  LL_GPIO_SetPinMode(W5500_nINT_GPIO_Port, W5500_nINT_Pin, LL_GPIO_MODE_INPUT);

  /**/
  LL_GPIO_SetPinMode(Modc_nDRDY_GPIO_Port, Modc_nDRDY_Pin, LL_GPIO_MODE_INPUT);

  /**/
  LL_GPIO_SetPinMode(Mod1_nDRDY_GPIO_Port, Mod1_nDRDY_Pin, LL_GPIO_MODE_INPUT);

  /**/
  LL_GPIO_SetPinMode(Mods_nDRDY_GPIO_Port, Mods_nDRDY_Pin, LL_GPIO_MODE_INPUT);

  /* EXTI interrupt init*/
  NVIC_SetPriority(EXTI0_IRQn, NVIC_EncodePriority(NVIC_GetPriorityGrouping(),0, 0));
  NVIC_EnableIRQ(EXTI0_IRQn);
  NVIC_SetPriority(EXTI1_IRQn, NVIC_EncodePriority(NVIC_GetPriorityGrouping(),1, 0));
  NVIC_EnableIRQ(EXTI1_IRQn);

}

void Error_Handler(void)
{
}

/************************ (C) COPYRIGHT STMicroelectronics *****END OF FILE****/
